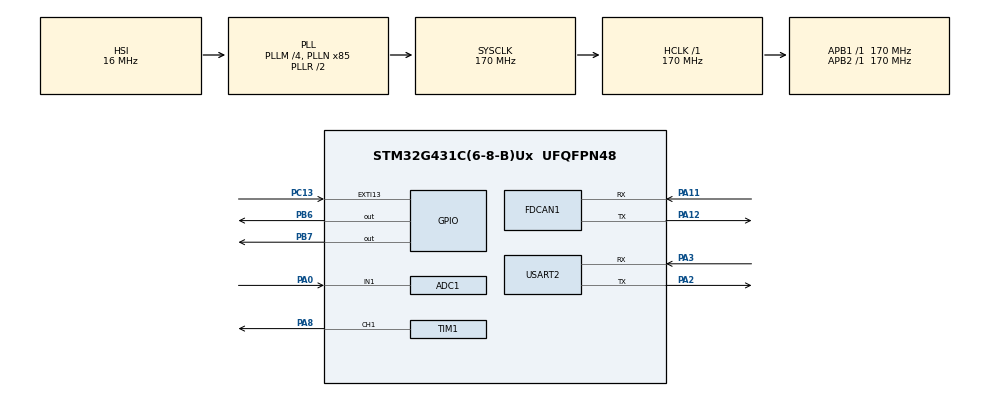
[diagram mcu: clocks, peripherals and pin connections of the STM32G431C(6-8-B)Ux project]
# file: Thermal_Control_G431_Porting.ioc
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ADC1.Channel-1\#ChannelRegularConversion=ADC_CHANNEL_1
ADC1.ContinuousConvMode=ENABLE
ADC1.NbrOfConversion=1
ADC1.NbrOfConversionFlag=1
ADC1.OffsetNumber-1\#ChannelRegularConversion=ADC_OFFSET_NONE
ADC1.OversamplingMode=ENABLE
ADC1.Rank-1\#ChannelRegularConversion=1
ADC1.Ratio=ADC_OVERSAMPLING_RATIO_16
ADC1.RightBitShift=ADC_RIGHTBITSHIFT_4
ADC1.SamplingTime-1\#ChannelRegularConversion=ADC_SAMPLETIME_247CYCLES_5
ADC1.master=1
FDCAN1.AutoRetransmission=ENABLE
FDCAN1.CalculateBaudRateNominal=500000
FDCAN1.CalculateTimeBitNominal=2000
FDCAN1.CalculateTimeQuantumNominal=100.0
FDCAN1.NominalPrescaler=17
FDCAN1.NominalTimeSeg1=15
FDCAN1.NominalTimeSeg2=4
FREERTOS.Tasks01=defaultTask,24,128,StartDefaultTask,Default,NULL,Dynamic,NULL,NULL;ControlTask,40,512,Control_Task,Default,NULL,Dynamic,NULL,NULL;InputTask,24,512,Input_Task,Default,NULL,Dynamic,NULL,NULL;LoggingTask,8,512,Logging_Task,Default,NULL,Dynamic,NULL,NULL;CANTask,32,512,CAN_Task,Default,NULL,Dynamic,NULL,NULL
FREERTOS.configTOTAL_HEAP_SIZE=15360
Mcu.Family=STM32G4
Mcu.Name=STM32G431C(6-8-B)Ux
Mcu.Package=UFQFPN48
NVIC.EXTI15_10_IRQn=true\:5\:0\:false\:false\:true\:true\:true\:true\:true
NVIC.FDCAN1_IT0_IRQn=true\:5\:0\:false\:false\:true\:true\:true\:true\:true
NVIC.PriorityGroup=NVIC_PRIORITYGROUP_4
NVIC.TIM6_DAC_IRQn=true\:15\:0\:false\:false\:true\:false\:false\:true\:true
NVIC.TimeBase=TIM6_DAC_IRQn
NVIC.TimeBaseIP=TIM6
NVIC.USART2_IRQn=true\:5\:0\:false\:false\:true\:true\:true\:true\:true
PA0.Mode=IN1-Single-Ended
PA0.Signal=ADC1_IN1
PA11.Mode=FDCAN_Activate
PA11.Signal=FDCAN1_RX
PA12.Mode=FDCAN_Activate
PA12.Signal=FDCAN1_TX
PA13.Mode=Serial_Wire
PA13.Signal=SYS_JTMS-SWDIO
PA14.Mode=Serial_Wire
PA14.Signal=SYS_JTCK-SWCLK
PA2.Mode=Asynchronous
PA2.Signal=USART2_TX
PA3.Mode=Asynchronous
PA3.Signal=USART2_RX
PA8.Signal=S_TIM1_CH1
PB6.Signal=GPIO_Output
PB7.Signal=GPIO_Output
PC13.GPIO_ModeDefaultEXTI=GPIO_MODE_IT_FALLING
PC13.GPIO_PuPd=GPIO_PULLUP
PC13.Signal=GPXTI13
PF0-OSC_IN.Mode=HSE-External-Oscillator
PF0-OSC_IN.Signal=RCC_OSC_IN
PF1-OSC_OUT.Mode=HSE-External-Oscillator
PF1-OSC_OUT.Signal=RCC_OSC_OUT
ProjectManager.HeapSize=0x200
ProjectManager.StackSize=0x400
ProjectManager.TargetToolchain=STM32CubeIDE
RCC.ADC12Freq_Value=170000000
RCC.AHBFreq_Value=170000000
RCC.APB1Freq_Value=170000000
RCC.APB1TimFreq_Value=170000000
RCC.APB2Freq_Value=170000000
RCC.APB2TimFreq_Value=170000000
RCC.CortexFreq_Value=170000000
RCC.EXTERNAL_CLOCK_VALUE=12288000
RCC.HCLKFreq_Value=170000000
RCC.HSE_VALUE=8000000
RCC.HSI48_VALUE=48000000
RCC.HSI_VALUE=16000000
RCC.LSE_VALUE=32768
RCC.PLLM=RCC_PLLM_DIV4
RCC.PLLN=85
RCC.SYSCLKFreq_VALUE=170000000
RCC.SYSCLKSource=RCC_SYSCLKSOURCE_PLLCLK
RCC.USBFreq_Value=170000000
RCC.VCOOutputFreq_Value=340000000
SH.S_TIM1_CH1.0=TIM1_CH1,PWM Generation1 CH1
TIM1.AutoReloadPreload=TIM_AUTORELOAD_PRELOAD_ENABLE
TIM1.Channel-PWM\ Generation1\ CH1=TIM_CHANNEL_1
TIM1.PeriodNoDither=399
TIM1.Prescaler=16
USART2.VirtualMode-Asynchronous=VM_ASYNC
VP_FREERTOS_VS_CMSIS_V2.Mode=CMSIS_V2
VP_SYS_VS_DBSignals.Mode=DisableDeadBatterySignals
VP_SYS_VS_tim6.Mode=TIM6
board=custom

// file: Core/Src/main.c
/* USER CODE BEGIN Header */
/**
  ******************************************************************************
  * @file           : main.c
  * @brief          : Main program body
  ******************************************************************************
  * @attention
  *
  * Copyright (c) 2026 STMicroelectronics.
  * All rights reserved.
  *
  * This software is licensed under terms that can be found in the LICENSE file
  * in the root directory of this software component.
  * If no LICENSE file comes with this software, it is provided AS-IS.
  *
  ******************************************************************************
  */
/* USER CODE END Header */
#include "main.h"
#include "cmsis_os.h"

/* USER CODE BEGIN Includes */
#include "thermal_project_v2.h"
#include <stdio.h>
#include "queue.h"
/* USER CODE END Includes */

/* USER CODE BEGIN PM */
volatile uint32_t number=0;
volatile uint32_t cnt=0;
/* USER CODE END PM */

ADC_HandleTypeDef hadc1;

FDCAN_HandleTypeDef hfdcan1;

TIM_HandleTypeDef htim1;

UART_HandleTypeDef huart2;

/* Definitions for defaultTask */
osThreadId_t defaultTaskHandle;
const osThreadAttr_t defaultTask_attributes = {
  .name = "defaultTask",
  .priority = (osPriority_t) osPriorityNormal,
  .stack_size = 128 * 4
};
/* Definitions for ControlTask */
osThreadId_t ControlTaskHandle;
const osThreadAttr_t ControlTask_attributes = {
  .name = "ControlTask",
  .priority = (osPriority_t) osPriorityHigh,
  .stack_size = 512 * 4
};
/* Definitions for InputTask */
osThreadId_t InputTaskHandle;
const osThreadAttr_t InputTask_attributes = {
  .name = "InputTask",
  .priority = (osPriority_t) osPriorityNormal,
  .stack_size = 512 * 4
};
/* Definitions for LoggingTask */
osThreadId_t LoggingTaskHandle;
const osThreadAttr_t LoggingTask_attributes = {
  .name = "LoggingTask",
  .priority = (osPriority_t) osPriorityLow,
  .stack_size = 512 * 4
};
/* Definitions for CANTask */
osThreadId_t CANTaskHandle;
const osThreadAttr_t CANTask_attributes = {
  .name = "CANTask",
  .priority = (osPriority_t) osPriorityAboveNormal,
  .stack_size = 512 * 4
};
/* USER CODE BEGIN PV */
typedef enum
{
    MODE_NONE = 0,
    MODE_PRESET = 1,
    MODE_POT = 2
} SystemMode_t;

typedef struct
{
    uint8_t mode;
    float set_temp;
    float temp;
} InputMsg_t;

typedef struct
{
    uint32_t time_ms;
    float temp;
    float pwm;
    float fault;
    float set_temp;
    uint8_t mode;
} LogMsg_t;

typedef struct
{
	uint32_t time_ms;
	float temp;
	float pwm;
	float fault;
	float set_temp;

} CANMsg_t;

QueueHandle_t qSetTempHandle;
QueueHandle_t qLogHandle;
QueueHandle_t qCANHandle;

volatile uint8_t g_boot_done = 0;
volatile uint32_t input_pwm = 0;
volatile uint32_t adc_raw = 0;
/* USER CODE END PV */

void SystemClock_Config(void);
static void MX_GPIO_Init(void);
static void MX_ADC1_Init(void);
static void MX_TIM1_Init(void);
static void MX_FDCAN1_Init(void);
static void MX_USART2_UART_Init(void);
void StartDefaultTask(void *argument);
void Control_Task(void *argument);
void Input_Task(void *argument);
void Logging_Task(void *argument);
void CAN_Task(void *argument);

/* USER CODE BEGIN PFP */
uint32_t Read_ADC_Value(void);
/* USER CODE END PFP */

/* USER CODE BEGIN 0 */
int _write(int file, char *ptr, int len)
{
  HAL_UART_Transmit(&huart2, (uint8_t *)ptr, len, HAL_MAX_DELAY);
  return len;
}

/* USER CODE END 0 */

int main(void)
{

  /* MCU Configuration--------------------------------------------------------*/

  /* Reset of all peripherals, Initializes the Flash interface and the Systick. */
  HAL_Init();

  /* Configure the system clock */
  SystemClock_Config();

  /* Initialize all configured peripherals */
  MX_GPIO_Init();
  MX_ADC1_Init();
  MX_TIM1_Init();
  MX_FDCAN1_Init();
  MX_USART2_UART_Init();
  /* USER CODE BEGIN 2 */
  qSetTempHandle = xQueueCreate(1, sizeof(InputMsg_t));
  qLogHandle     = xQueueCreate(8, sizeof(LogMsg_t));
  qCANHandle = xQueueCreate(10, sizeof(CANMsg_t));
  HAL_FDCAN_Start(&hfdcan1);

  /* USER CODE END 2 */

  /* Init scheduler */
  osKernelInitialize();

  /* Create the thread(s) */
  /* creation of defaultTask */
  defaultTaskHandle = osThreadNew(StartDefaultTask, NULL, &defaultTask_attributes);

  /* creation of ControlTask */
  ControlTaskHandle = osThreadNew(Control_Task, NULL, &ControlTask_attributes);

  /* creation of InputTask */
  InputTaskHandle = osThreadNew(Input_Task, NULL, &InputTask_attributes);

  /* creation of LoggingTask */
  LoggingTaskHandle = osThreadNew(Logging_Task, NULL, &LoggingTask_attributes);

  /* creation of CANTask */
  CANTaskHandle = osThreadNew(CAN_Task, NULL, &CANTask_attributes);

  /* Start scheduler */
  osKernelStart();

  /* We should never get here as control is now taken by the scheduler */

  /* Infinite loop */
  while (1)
  {

  }
}

void SystemClock_Config(void)
{
  RCC_OscInitTypeDef RCC_OscInitStruct = {0};
  RCC_ClkInitTypeDef RCC_ClkInitStruct = {0};

  /** Configure the main internal regulator output voltage
  */
  HAL_PWREx_ControlVoltageScaling(PWR_REGULATOR_VOLTAGE_SCALE1_BOOST);

  /** Initializes the RCC Oscillators according to the specified parameters
  * in the RCC_OscInitTypeDef structure.
  */
  RCC_OscInitStruct.OscillatorType = RCC_OSCILLATORTYPE_HSI;
  RCC_OscInitStruct.HSIState = RCC_HSI_ON;
  RCC_OscInitStruct.HSICalibrationValue = RCC_HSICALIBRATION_DEFAULT;
  RCC_OscInitStruct.PLL.PLLState = RCC_PLL_ON;
  RCC_OscInitStruct.PLL.PLLSource = RCC_PLLSOURCE_HSI;
  RCC_OscInitStruct.PLL.PLLM = RCC_PLLM_DIV4;
  RCC_OscInitStruct.PLL.PLLN = 85;
  RCC_OscInitStruct.PLL.PLLP = RCC_PLLP_DIV2;
  RCC_OscInitStruct.PLL.PLLQ = RCC_PLLQ_DIV2;
  RCC_OscInitStruct.PLL.PLLR = RCC_PLLR_DIV2;
  if (HAL_RCC_OscConfig(&RCC_OscInitStruct) != HAL_OK)
  {
    Error_Handler();
  }

  /** Initializes the CPU, AHB and APB buses clocks
  */
  RCC_ClkInitStruct.ClockType = RCC_CLOCKTYPE_HCLK|RCC_CLOCKTYPE_SYSCLK
                              |RCC_CLOCKTYPE_PCLK1|RCC_CLOCKTYPE_PCLK2;
  RCC_ClkInitStruct.SYSCLKSource = RCC_SYSCLKSOURCE_PLLCLK;
  RCC_ClkInitStruct.AHBCLKDivider = RCC_SYSCLK_DIV1;
  RCC_ClkInitStruct.APB1CLKDivider = RCC_HCLK_DIV1;
  RCC_ClkInitStruct.APB2CLKDivider = RCC_HCLK_DIV1;

  if (HAL_RCC_ClockConfig(&RCC_ClkInitStruct, FLASH_LATENCY_4) != HAL_OK)
  {
    Error_Handler();
  }
}

static void MX_ADC1_Init(void)
{

  ADC_MultiModeTypeDef multimode = {0};
  ADC_ChannelConfTypeDef sConfig = {0};

  /** Common config
  */
  hadc1.Instance = ADC1;
  hadc1.Init.ClockPrescaler = ADC_CLOCK_SYNC_PCLK_DIV4;
  hadc1.Init.Resolution = ADC_RESOLUTION_12B;
  hadc1.Init.DataAlign = ADC_DATAALIGN_RIGHT;
  hadc1.Init.GainCompensation = 0;
  hadc1.Init.ScanConvMode = ADC_SCAN_DISABLE;
  hadc1.Init.EOCSelection = ADC_EOC_SINGLE_CONV;
  hadc1.Init.LowPowerAutoWait = DISABLE;
  hadc1.Init.ContinuousConvMode = ENABLE;
  hadc1.Init.NbrOfConversion = 1;
  hadc1.Init.DiscontinuousConvMode = DISABLE;
  hadc1.Init.ExternalTrigConv = ADC_SOFTWARE_START;
  hadc1.Init.ExternalTrigConvEdge = ADC_EXTERNALTRIGCONVEDGE_NONE;
  hadc1.Init.DMAContinuousRequests = DISABLE;
  hadc1.Init.Overrun = ADC_OVR_DATA_PRESERVED;
  hadc1.Init.OversamplingMode = ENABLE;
  hadc1.Init.Oversampling.Ratio = ADC_OVERSAMPLING_RATIO_16;
  hadc1.Init.Oversampling.RightBitShift = ADC_RIGHTBITSHIFT_4;
  hadc1.Init.Oversampling.TriggeredMode = ADC_TRIGGEREDMODE_SINGLE_TRIGGER;
  hadc1.Init.Oversampling.OversamplingStopReset = ADC_REGOVERSAMPLING_CONTINUED_MODE;
  if (HAL_ADC_Init(&hadc1) != HAL_OK)
  {
    Error_Handler();
  }

  /** Configure the ADC multi-mode
  */
  multimode.Mode = ADC_MODE_INDEPENDENT;
  if (HAL_ADCEx_MultiModeConfigChannel(&hadc1, &multimode) != HAL_OK)
  {
    Error_Handler();
  }

  /** Configure Regular Channel
  */
  sConfig.Channel = ADC_CHANNEL_1;
  sConfig.Rank = ADC_REGULAR_RANK_1;
  sConfig.SamplingTime = ADC_SAMPLETIME_247CYCLES_5;
  sConfig.SingleDiff = ADC_SINGLE_ENDED;
  sConfig.OffsetNumber = ADC_OFFSET_NONE;
  sConfig.Offset = 0;
  if (HAL_ADC_ConfigChannel(&hadc1, &sConfig) != HAL_OK)
  {
    Error_Handler();
  }

}

static void MX_FDCAN1_Init(void)
{

  hfdcan1.Instance = FDCAN1;
  hfdcan1.Init.ClockDivider = FDCAN_CLOCK_DIV1;
  hfdcan1.Init.FrameFormat = FDCAN_FRAME_CLASSIC;
  hfdcan1.Init.Mode = FDCAN_MODE_NORMAL;
  hfdcan1.Init.AutoRetransmission = ENABLE;
  hfdcan1.Init.TransmitPause = DISABLE;
  hfdcan1.Init.ProtocolException = DISABLE;
  hfdcan1.Init.NominalPrescaler = 17;
  hfdcan1.Init.NominalSyncJumpWidth = 1;
  hfdcan1.Init.NominalTimeSeg1 = 15;
  hfdcan1.Init.NominalTimeSeg2 = 4;
  hfdcan1.Init.DataPrescaler = 1;
  hfdcan1.Init.DataSyncJumpWidth = 1;
  hfdcan1.Init.DataTimeSeg1 = 1;
  hfdcan1.Init.DataTimeSeg2 = 1;
  hfdcan1.Init.StdFiltersNbr = 0;
  hfdcan1.Init.ExtFiltersNbr = 0;
  hfdcan1.Init.TxFifoQueueMode = FDCAN_TX_FIFO_OPERATION;
  if (HAL_FDCAN_Init(&hfdcan1) != HAL_OK)
  {
    Error_Handler();
  }

}

static void MX_TIM1_Init(void)
{

  TIM_MasterConfigTypeDef sMasterConfig = {0};
  TIM_OC_InitTypeDef sConfigOC = {0};
  TIM_BreakDeadTimeConfigTypeDef sBreakDeadTimeConfig = {0};

  htim1.Instance = TIM1;
  htim1.Init.Prescaler = 16;
  htim1.Init.CounterMode = TIM_COUNTERMODE_UP;
  htim1.Init.Period = 399;
  htim1.Init.ClockDivision = TIM_CLOCKDIVISION_DIV1;
  htim1.Init.RepetitionCounter = 0;
  htim1.Init.AutoReloadPreload = TIM_AUTORELOAD_PRELOAD_ENABLE;
  if (HAL_TIM_PWM_Init(&htim1) != HAL_OK)
  {
    Error_Handler();
  }
  sMasterConfig.MasterOutputTrigger = TIM_TRGO_RESET;
  sMasterConfig.MasterOutputTrigger2 = TIM_TRGO2_RESET;
  sMasterConfig.MasterSlaveMode = TIM_MASTERSLAVEMODE_DISABLE;
  if (HAL_TIMEx_MasterConfigSynchronization(&htim1, &sMasterConfig) != HAL_OK)
  {
    Error_Handler();
  }
  sConfigOC.OCMode = TIM_OCMODE_PWM1;
  sConfigOC.Pulse = 0;
  sConfigOC.OCPolarity = TIM_OCPOLARITY_HIGH;
  sConfigOC.OCNPolarity = TIM_OCNPOLARITY_HIGH;
  sConfigOC.OCFastMode = TIM_OCFAST_DISABLE;
  sConfigOC.OCIdleState = TIM_OCIDLESTATE_RESET;
  sConfigOC.OCNIdleState = TIM_OCNIDLESTATE_RESET;
  if (HAL_TIM_PWM_ConfigChannel(&htim1, &sConfigOC, TIM_CHANNEL_1) != HAL_OK)
  {
    Error_Handler();
  }
  sBreakDeadTimeConfig.OffStateRunMode = TIM_OSSR_DISABLE;
  sBreakDeadTimeConfig.OffStateIDLEMode = TIM_OSSI_DISABLE;
  sBreakDeadTimeConfig.LockLevel = TIM_LOCKLEVEL_OFF;
  sBreakDeadTimeConfig.DeadTime = 0;
  sBreakDeadTimeConfig.BreakState = TIM_BREAK_DISABLE;
  sBreakDeadTimeConfig.BreakPolarity = TIM_BREAKPOLARITY_HIGH;
  sBreakDeadTimeConfig.BreakFilter = 0;
  sBreakDeadTimeConfig.BreakAFMode = TIM_BREAK_AFMODE_INPUT;
  sBreakDeadTimeConfig.Break2State = TIM_BREAK2_DISABLE;
  sBreakDeadTimeConfig.Break2Polarity = TIM_BREAK2POLARITY_HIGH;
  sBreakDeadTimeConfig.Break2Filter = 0;
  sBreakDeadTimeConfig.Break2AFMode = TIM_BREAK_AFMODE_INPUT;
  sBreakDeadTimeConfig.AutomaticOutput = TIM_AUTOMATICOUTPUT_DISABLE;
  if (HAL_TIMEx_ConfigBreakDeadTime(&htim1, &sBreakDeadTimeConfig) != HAL_OK)
  {
    Error_Handler();
  }
  HAL_TIM_MspPostInit(&htim1);

}

static void MX_USART2_UART_Init(void)
{

  huart2.Instance = USART2;
  huart2.Init.BaudRate = 115200;
  huart2.Init.WordLength = UART_WORDLENGTH_8B;
  huart2.Init.StopBits = UART_STOPBITS_1;
  huart2.Init.Parity = UART_PARITY_NONE;
  huart2.Init.Mode = UART_MODE_TX_RX;
  huart2.Init.HwFlowCtl = UART_HWCONTROL_NONE;
  huart2.Init.OverSampling = UART_OVERSAMPLING_16;
  huart2.Init.OneBitSampling = UART_ONE_BIT_SAMPLE_DISABLE;
  huart2.Init.ClockPrescaler = UART_PRESCALER_DIV1;
  huart2.AdvancedInit.AdvFeatureInit = UART_ADVFEATURE_NO_INIT;
  if (HAL_UART_Init(&huart2) != HAL_OK)
  {
    Error_Handler();
  }
  if (HAL_UARTEx_SetTxFifoThreshold(&huart2, UART_TXFIFO_THRESHOLD_1_8) != HAL_OK)
  {
    Error_Handler();
  }
  if (HAL_UARTEx_SetRxFifoThreshold(&huart2, UART_RXFIFO_THRESHOLD_1_8) != HAL_OK)
  {
    Error_Handler();
  }
  if (HAL_UARTEx_DisableFifoMode(&huart2) != HAL_OK)
  {
    Error_Handler();
  }

}

static void MX_GPIO_Init(void)
{
  GPIO_InitTypeDef GPIO_InitStruct = {0};

  /* GPIO Ports Clock Enable */
  __HAL_RCC_GPIOC_CLK_ENABLE();
  __HAL_RCC_GPIOF_CLK_ENABLE();
  __HAL_RCC_GPIOA_CLK_ENABLE();
  __HAL_RCC_GPIOB_CLK_ENABLE();

  /*Configure GPIO pin Output Level */
  HAL_GPIO_WritePin(GPIOB, GPIO_PIN_6|GPIO_PIN_7, GPIO_PIN_RESET);

  /*Configure GPIO pin : PC13 */
  GPIO_InitStruct.Pin = GPIO_PIN_13;
  GPIO_InitStruct.Mode = GPIO_MODE_IT_FALLING;
  GPIO_InitStruct.Pull = GPIO_PULLUP;
  HAL_GPIO_Init(GPIOC, &GPIO_InitStruct);

  /*Configure GPIO pins : PB6 PB7 */
  GPIO_InitStruct.Pin = GPIO_PIN_6|GPIO_PIN_7;
  GPIO_InitStruct.Mode = GPIO_MODE_OUTPUT_PP;
  GPIO_InitStruct.Pull = GPIO_NOPULL;
  GPIO_InitStruct.Speed = GPIO_SPEED_FREQ_LOW;
  HAL_GPIO_Init(GPIOB, &GPIO_InitStruct);

  /* EXTI interrupt init*/
  HAL_NVIC_SetPriority(EXTI15_10_IRQn, 5, 0);
  HAL_NVIC_EnableIRQ(EXTI15_10_IRQn);

}

/* USER CODE BEGIN 4 */
uint32_t Read_ADC_Value(void){
  uint32_t adc_value = 0;

  HAL_ADC_Start(&hadc1);
  HAL_ADC_PollForConversion(&hadc1, HAL_MAX_DELAY);
  adc_value = HAL_ADC_GetValue(&hadc1);
  HAL_ADC_Stop(&hadc1);

  return adc_value;
}

/* USER CODE END 4 */

void StartDefaultTask(void *argument)
{
  for(;;)
	  osDelay(1);
}

void Control_Task(void *argument)
{
  /* USER CODE BEGIN Control_Task */
    thermal_project_v2_initialize();

    while (g_boot_done == 0)
    {
        vTaskDelay(pdMS_TO_TICKS(50));
    }

    TickType_t xLastWakeTime = xTaskGetTickCount();
    uint32_t start_time = HAL_GetTick();

    InputMsg_t rxMsg;
    LogMsg_t logMsg;
    CANMsg_t CANMsg;

    if (xQueueReceive(qSetTempHandle, &rxMsg, portMAX_DELAY) != pdPASS)
    {
        Error_Handler();
    }

    //PWM for FAN Setting
    HAL_TIM_PWM_Start(&htim1, TIM_CHANNEL_1);
    HAL_GPIO_WritePin(GPIOB, GPIO_PIN_6, GPIO_PIN_SET);
    HAL_GPIO_WritePin(GPIOB, GPIO_PIN_7, GPIO_PIN_RESET);

    for(;;)
    {
        if (xQueueReceive(qSetTempHandle, &rxMsg, 0) == pdPASS)
        {
        }

        thermal_project_v2_U.set_temp   = rxMsg.set_temp;
        thermal_project_v2_U.temp = rxMsg.temp;

        thermal_project_v2_step();

        float pwm   = (float)thermal_project_v2_Y.pwm_out;
        float fault = (float)thermal_project_v2_Y.fault_flag;
        input_pwm = (uint32_t) (pwm * 3.99f);

        // PWM for FAN
        if(pwm == 0){
        	__HAL_TIM_SET_COMPARE(&htim1, TIM_CHANNEL_1, 0);
        }
        else if (pwm <= 35){
        	__HAL_TIM_SET_COMPARE(&htim1, TIM_CHANNEL_1, 140);
        }
        else __HAL_TIM_SET_COMPARE(&htim1, TIM_CHANNEL_1, input_pwm);

        /*if (fault > 0.5f || rxMsg.temp > 70.0f)
        {
            HAL_GPIO_WritePin(GPIOB, GPIO_PIN_4, GPIO_PIN_SET);
            HAL_GPIO_WritePin(GPIOB, GPIO_PIN_5, GPIO_PIN_RESET);
        }
        else
        {
            HAL_GPIO_WritePin(GPIOB, GPIO_PIN_5, GPIO_PIN_SET);
            HAL_GPIO_WritePin(GPIOB, GPIO_PIN_4, GPIO_PIN_RESET);
        }*/

        logMsg.time_ms  = HAL_GetTick() - start_time;
        logMsg.temp     = rxMsg.temp;
        logMsg.pwm      = pwm;
        logMsg.fault    = fault;
        logMsg.set_temp = rxMsg.set_temp;
        logMsg.mode     = rxMsg.mode;

        CANMsg.time_ms = logMsg.time_ms;
        CANMsg.temp = rxMsg.temp;
        CANMsg.pwm = pwm;
        CANMsg.fault = fault;
        CANMsg.set_temp = rxMsg.set_temp;

        xQueueSend(qLogHandle, &logMsg, 0);
        xQueueSend(qCANHandle, &CANMsg, 0);

        vTaskDelayUntil(&xLastWakeTime, pdMS_TO_TICKS(100));
    }

  /* USER CODE END Control_Task */
}

void Input_Task(void *argument)
{
  /* USER CODE BEGIN Input_Task */
    InputMsg_t txMsg;

    txMsg.mode = MODE_POT;
    txMsg.set_temp = 28.0f;

    adc_raw = Read_ADC_Value();
    txMsg.temp = ((float)adc_raw * 330.0f / 4095.0f);

    xQueueOverwrite(qSetTempHandle, &txMsg);
    g_boot_done = 1;

    for (;;)
    {
            adc_raw = Read_ADC_Value();

            txMsg.temp = ((float)adc_raw * 330.0f / 4095.0f);
            txMsg.set_temp = 20.0f;

            xQueueOverwrite(qSetTempHandle, &txMsg);

        vTaskDelay(pdMS_TO_TICKS(100));
    }

  /* USER CODE END Input_Task */
}

void Logging_Task(void *argument)
{
  /* USER CODE BEGIN Logging_Task */

    LogMsg_t rxLog;
    uint32_t last_print_sec = 0xFFFFFFFF;

    while (g_boot_done == 0)
    {
        vTaskDelay(pdMS_TO_TICKS(50));
    }

    printf("\r\n===== THERMAL CONTROL LOG START =====\r\n");

    for(;;)
    {

        if (xQueueReceive(qLogHandle, &rxLog, portMAX_DELAY) == pdPASS)
        {

            if (rxLog.mode == MODE_POT)
            {
                uint32_t now_sec = rxLog.time_ms / 1000;

                if (now_sec != last_print_sec)
                {
                    last_print_sec = now_sec;
                    if (rxLog.pwm>0 && rxLog.pwm <= 35){
                        printf("[POT] t=%lus | Now Temp=%.2f C | Set_Temp=%.2f C | PWM=%.2f, (now the fan is running in minimal speed)  | Fault=%.0f\r\n",
                               now_sec,
                               rxLog.temp,
                               rxLog.set_temp,
                               rxLog.pwm,
                               rxLog.fault);
                    }
                    else {printf("[POT] t=%lus | Now Temp=%.2f C | Set_Temp=%.2f C | PWM=%.2f | Fault=%.0f\r\n",
                           now_sec,
                           rxLog.temp,
                           rxLog.set_temp,
                           rxLog.pwm,
                           rxLog.fault);}
                }
            }
        }
    }

  /* USER CODE END Logging_Task */
}

void CAN_Task(void *argument)
{
  /* USER CODE BEGIN CAN_Task */
  /* Infinite loop */
  for(;;)
  {
	  CANMsg_t rxData;
	  FDCAN_TxHeaderTypeDef pTxHeader;
	  uint8_t pTxData[8];
	  static TickType_t xStartTime = 0;
	  if(xStartTime == 0) xStartTime = xTaskGetTickCount();

	  if(xQueueReceive(qCANHandle, &rxData, portMAX_DELAY) == pdPASS){
		  cnt += 1; printf("count : %lu\r\n", cnt);

		  pTxHeader.Identifier = 0x103;
		  pTxHeader.IdType = FDCAN_STANDARD_ID;
		  pTxHeader.TxFrameType = FDCAN_DATA_FRAME;
		  pTxHeader.DataLength = FDCAN_DLC_BYTES_8;
		  pTxHeader.ErrorStateIndicator = FDCAN_ESI_ACTIVE;
		  pTxHeader.BitRateSwitch = FDCAN_BRS_OFF;
		  pTxHeader.FDFormat = FDCAN_CLASSIC_CAN;
		  pTxHeader.TxEventFifoControl = FDCAN_NO_TX_EVENTS;
		  pTxHeader.MessageMarker = 0;

		  uint16_t pwm_data = (uint16_t)(rxData.pwm*100.0f);
		  uint16_t set_temp_data = (uint16_t)(rxData.set_temp*100.0f);
		  uint16_t temp_data = (uint16_t)(rxData.temp*100.0f);

		  TickType_t xTime = (xTaskGetTickCount() - xStartTime)/100;

		  pTxData[0] = (uint8_t)xTime;
		  pTxData[1] = (uint8_t)((pwm_data >> 8) & 0xFF);
		  pTxData[2] = (uint8_t)(pwm_data & 0xFF);
		  pTxData[3] = (uint8_t)((set_temp_data >> 8) & 0xFF);
		  pTxData[4] = (uint8_t)(set_temp_data & 0xFF);
		  pTxData[5] = (uint8_t)((temp_data >> 8) & 0xFF);
		  pTxData[6] = (uint8_t)(temp_data & 0xFF);
		  pTxData[7] = (uint8_t)rxData.fault;

		  HAL_FDCAN_AddMessageToTxFifoQ(&hfdcan1, &pTxHeader, pTxData);

		  pTxHeader.Identifier = 0x104;
		  pTxHeader.IdType = FDCAN_STANDARD_ID;
		  pTxHeader.TxFrameType = FDCAN_DATA_FRAME;
		  pTxHeader.DataLength = FDCAN_DLC_BYTES_8;
		  pTxHeader.ErrorStateIndicator = FDCAN_ESI_ACTIVE;
		  pTxHeader.BitRateSwitch = FDCAN_BRS_OFF;
		  pTxHeader.FDFormat = FDCAN_CLASSIC_CAN;
		  pTxHeader.TxEventFifoControl = FDCAN_NO_TX_EVENTS;
		  pTxHeader.MessageMarker = 0;

		  TickType_t xTime = (xTaskGetTickCount() - xStartTime);

		  pTxData[0] = (uint8_t)((xTime >> 24) | 0xFF);
		  pTxData[1] = (uint8_t)((xTime >> 16) | 0xFF);
		  pTxData[2] = (uint8_t)((xTime >> 8) | 0xFF);
		  pTxData[3] = (uint8_t)(xTime | 0xFF);

		  HAL_FDCAN_AddMessageToTxFifoQ(&hfdcan1, &pTxHeader, pTxData);

	  }

  }
  /* USER CODE END CAN_Task */
}

void HAL_TIM_PeriodElapsedCallback(TIM_HandleTypeDef *htim)
{
  if (htim->Instance == TIM6)
  {
    HAL_IncTick();
  }
}

void Error_Handler(void)
{
  __disable_irq();
  while (1)
  {
  }
}
